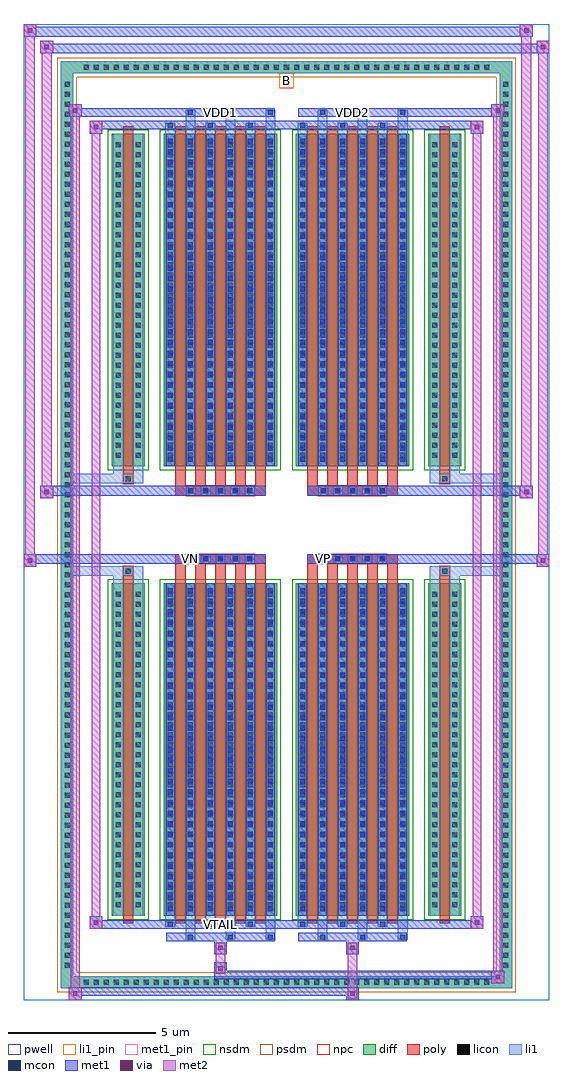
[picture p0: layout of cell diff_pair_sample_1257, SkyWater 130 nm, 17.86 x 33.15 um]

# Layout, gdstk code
import gdstk
lib = gdstk.Library(unit=1e-6, precision=5e-09)
def R(c, l, rs):  # rectangles x0, y0, x1, y1
    for r in rs: c.add(gdstk.rectangle(r[:2], r[2:], *l))
def A(c, l, x, y, w, h, nx, ny, dx, dy):  # array of equal rectangles
    R(c, l, [(x+i*dx, y+j*dy, x+i*dx+w, y+j*dy+h) for i in range(nx) for j in range(ny)])
def P(c, l, *ps):  # polygons
    for p in ps: c.add(gdstk.Polygon(p, *l))
pwell = (64, 44)
diff = (65, 20)
poly = (66, 20)
licon = (66, 44)
li1_pin = (67, 16)
li1 = (67, 20)
mcon = (67, 44)
met1_pin = (68, 16)
met1 = (68, 20)
via = (68, 44)
met2 = (69, 20)
nsdm = (93, 44)
psdm = (94, 20)
npc = (95, 20)

diff_pair_sample_1257 = lib.new_cell('diff_pair_sample_1257')
R(diff_pair_sample_1257, pwell, [(-8.93,-16.14,8.93,17.01), (-6.25,-14.33,-0.01,-0.795), (0.01,-14.33,6.25,-0.795), (-6.25,0.795,-0.01,14.33), (0.01,0.795,6.25,14.33)])
A(diff_pair_sample_1257, diff, -7.005, -15.74, 0.41, 0.41, 41, 2, 0.34, 31.07)
A(diff_pair_sample_1257, diff, -7.66, -15.165, 0.41, 0.41, 1, 89, 0, 0.34)
A(diff_pair_sample_1257, diff, 7.25, -15.165, 0.41, 0.41, 1, 89, 0, 0.34)
R(diff_pair_sample_1257, diff, [(-7.005,-15.74,7.005,-15.33), (-7.66,-15.165,-7.25,15.165), (7.25,-15.165,7.66,15.165), (-5.94,-13.285,-4.81,-1.985), (-4.17,-13.285,-0.32,-1.985), (0.32,-13.285,4.17,-1.985), (4.81,-13.285,5.94,-1.985), (-5.94,1.985,-4.81,13.285), (-4.17,1.985,-0.32,13.285), (0.32,1.985,4.17,13.285), (4.81,1.985,5.94,13.285), (-7.005,15.33,7.005,15.74)])
P(diff_pair_sample_1257, diff, [(7.66,15.74),(-7.66,15.74),(-7.66,-15.33),(-7.25,-15.33),(-7.25,15.33),(7.25,15.33),(7.25,-15.33),(-7.25,-15.33),(-7.66,-15.33),(-7.66,-15.74),(7.66,-15.74)])
A(diff_pair_sample_1257, poly, -3.78, -13.535, 0.35, 11.8, 5, 2, 0.68, 15.27)
A(diff_pair_sample_1257, poly, 0.71, -13.535, 0.35, 11.8, 5, 2, 0.68, 15.27)
A(diff_pair_sample_1257, poly, -3.78, -1.735, 0.35, 0.41, 5, 2, 0.68, 3.06)
A(diff_pair_sample_1257, poly, 0.71, -1.735, 0.35, 0.41, 5, 2, 0.68, 3.06)
A(diff_pair_sample_1257, poly, -3.41, -1.325, 0.33, 0.33, 5, 2, 0.5, 2.32)
A(diff_pair_sample_1257, poly, 1.08, -1.325, 0.33, 0.33, 5, 2, 0.5, 2.32)
R(diff_pair_sample_1257, poly, [(-5.55,-13.535,-5.2,-1.735), (5.2,-13.535,5.55,-1.735), (-5.54,-1.735,-5.21,-1.405), (-5.54,-1.735,-5.21,-1.405), (5.21,-1.735,5.54,-1.405), (5.21,-1.735,5.54,-1.405), (-3.78,-1.325,-0.71,-0.995), (0.71,-1.325,3.78,-0.995), (-3.78,0.995,-0.71,1.325), (0.71,0.995,3.78,1.325), (-5.54,1.405,-5.21,1.735), (-5.54,1.405,-5.21,1.735), (5.21,1.405,5.54,1.735), (5.21,1.405,5.54,1.735), (-5.55,1.735,-5.2,13.535), (5.2,1.735,5.55,13.535)])
A(diff_pair_sample_1257, licon, -6.885, -15.62, 0.17, 0.17, 41, 2, 0.34, 31.07)
A(diff_pair_sample_1257, licon, -7.54, -15.045, 0.17, 0.17, 1, 89, 0, 0.34)
A(diff_pair_sample_1257, licon, 7.37, -15.045, 0.17, 0.17, 1, 89, 0, 0.34)
A(diff_pair_sample_1257, licon, -5.8, -12.99, 0.17, 0.17, 1, 32, 0, 0.34)
A(diff_pair_sample_1257, licon, -5.12, -12.99, 0.17, 0.17, 1, 32, 0, 0.34)
A(diff_pair_sample_1257, licon, -4.03, -12.99, 0.17, 0.17, 6, 32, 0.68, 0.34)
A(diff_pair_sample_1257, licon, 0.46, -12.99, 0.17, 0.17, 6, 32, 0.68, 0.34)
A(diff_pair_sample_1257, licon, 4.95, -12.99, 0.17, 0.17, 1, 32, 0, 0.34)
A(diff_pair_sample_1257, licon, 5.63, -12.99, 0.17, 0.17, 1, 32, 0, 0.34)
A(diff_pair_sample_1257, licon, -3.33, -1.245, 0.17, 0.17, 5, 2, 0.5, 2.32)
A(diff_pair_sample_1257, licon, 1.16, -1.245, 0.17, 0.17, 5, 2, 0.5, 2.32)
A(diff_pair_sample_1257, licon, -5.8, 2.28, 0.17, 0.17, 1, 32, 0, 0.34)
A(diff_pair_sample_1257, licon, -5.12, 2.28, 0.17, 0.17, 1, 32, 0, 0.34)
A(diff_pair_sample_1257, licon, -4.03, 2.28, 0.17, 0.17, 6, 32, 0.68, 0.34)
A(diff_pair_sample_1257, licon, 0.46, 2.28, 0.17, 0.17, 6, 32, 0.68, 0.34)
A(diff_pair_sample_1257, licon, 4.95, 2.28, 0.17, 0.17, 1, 32, 0, 0.34)
A(diff_pair_sample_1257, licon, 5.63, 2.28, 0.17, 0.17, 1, 32, 0, 0.34)
R(diff_pair_sample_1257, licon, [(-5.46,-1.655,-5.29,-1.485), (5.29,-1.655,5.46,-1.485), (-5.46,1.485,-5.29,1.655), (5.29,1.485,5.46,1.655)])
R(diff_pair_sample_1257, li1_pin, [(-0.25,14.83,0.25,15.33)])
A(diff_pair_sample_1257, li1, -6.965, -15.7, 0.33, 0.33, 41, 2, 0.34, 31.07)
A(diff_pair_sample_1257, li1, -7.62, -15.125, 0.33, 0.33, 1, 89, 0, 0.34)
A(diff_pair_sample_1257, li1, 7.29, -15.125, 0.33, 0.33, 1, 89, 0, 0.34)
A(diff_pair_sample_1257, li1, -3.43, -14.09, 0.33, 0.805, 3, 2, 1.36, 27.375)
A(diff_pair_sample_1257, li1, -3.35, -14.09, 0.17, 0.17, 3, 2, 1.36, 28.01)
A(diff_pair_sample_1257, li1, 1.06, -14.09, 0.33, 0.805, 3, 2, 1.36, 27.375)
A(diff_pair_sample_1257, li1, 1.14, -14.09, 0.17, 0.17, 3, 2, 1.36, 28.01)
A(diff_pair_sample_1257, li1, -4.11, -13.66, 0.33, 0.375, 3, 2, 1.36, 26.945)
A(diff_pair_sample_1257, li1, -4.03, -13.66, 0.17, 0.17, 3, 2, 1.36, 27.15)
A(diff_pair_sample_1257, li1, 0.38, -13.66, 0.33, 0.375, 3, 2, 1.36, 26.945)
A(diff_pair_sample_1257, li1, 0.46, -13.66, 0.17, 0.17, 3, 2, 1.36, 27.15)
A(diff_pair_sample_1257, li1, -4.11, -13.285, 0.33, 11.3, 6, 2, 0.68, 15.27)
A(diff_pair_sample_1257, li1, 0.38, -13.285, 0.33, 11.3, 6, 2, 0.68, 15.27)
A(diff_pair_sample_1257, li1, -4.03, -13.12, 0.17, 0.17, 6, 31, 0.68, 0.36)
A(diff_pair_sample_1257, li1, -4.03, -13.12, 0.17, 10.97, 6, 2, 0.68, 15.27)
A(diff_pair_sample_1257, li1, 0.46, -13.12, 0.17, 0.17, 6, 31, 0.68, 0.36)
A(diff_pair_sample_1257, li1, 0.46, -13.12, 0.17, 10.97, 6, 2, 0.68, 15.27)
A(diff_pair_sample_1257, li1, -5.88, -13.07, 0.33, 0.33, 1, 32, 0, 0.34)
A(diff_pair_sample_1257, li1, -5.2, -13.07, 0.33, 0.33, 1, 32, 0, 0.34)
A(diff_pair_sample_1257, li1, -4.11, -13.07, 0.33, 0.33, 6, 32, 0.68, 0.34)
A(diff_pair_sample_1257, li1, 0.38, -13.07, 0.33, 0.33, 6, 32, 0.68, 0.34)
A(diff_pair_sample_1257, li1, 4.87, -13.07, 0.33, 0.33, 1, 32, 0, 0.34)
A(diff_pair_sample_1257, li1, 5.55, -13.07, 0.33, 0.33, 1, 32, 0, 0.34)
A(diff_pair_sample_1257, li1, -3.41, -1.325, 0.33, 0.33, 5, 2, 0.5, 2.32)
A(diff_pair_sample_1257, li1, 1.08, -1.325, 0.33, 0.33, 5, 2, 0.5, 2.32)
A(diff_pair_sample_1257, li1, -4.03, 2.15, 0.17, 0.17, 6, 31, 0.68, 0.36)
A(diff_pair_sample_1257, li1, 0.46, 2.15, 0.17, 0.17, 6, 31, 0.68, 0.36)
A(diff_pair_sample_1257, li1, -5.88, 2.2, 0.33, 0.33, 1, 32, 0, 0.34)
A(diff_pair_sample_1257, li1, -5.2, 2.2, 0.33, 0.33, 1, 32, 0, 0.34)
A(diff_pair_sample_1257, li1, -4.11, 2.2, 0.33, 0.33, 6, 32, 0.68, 0.34)
A(diff_pair_sample_1257, li1, 0.38, 2.2, 0.33, 0.33, 6, 32, 0.68, 0.34)
A(diff_pair_sample_1257, li1, 4.87, 2.2, 0.33, 0.33, 1, 32, 0, 0.34)
A(diff_pair_sample_1257, li1, 5.55, 2.2, 0.33, 0.33, 1, 32, 0, 0.34)
R(diff_pair_sample_1257, li1, [(-7.66,-15.74,-7.25,-15.33), (-7.66,-15.74,-7.25,-15.33), (-7.25,-15.74,7.25,-15.33), (7.25,-15.74,7.66,-15.33), (7.25,-15.74,7.66,-15.33), (-7.66,-15.33,-7.25,15.33), (7.25,-15.33,7.66,15.33), (-5.88,-13.285,-5.55,-1.985), (-5.2,-13.285,-4.87,-1.985), (4.87,-13.285,5.2,-1.985), (5.55,-13.285,5.88,-1.985), (-5.88,-1.985,-5.55,-1.405), (-5.2,-1.985,-4.87,-1.405), (4.87,-1.985,5.2,-1.405), (5.55,-1.985,5.88,-1.405), (-7.66,-1.735,-5.54,-1.405), (-5.88,-1.735,-5.54,-1.405), (-5.54,-1.735,-5.21,-1.405), (-5.21,-1.735,-4.87,-1.405), (4.87,-1.735,5.21,-1.405), (5.21,-1.735,5.54,-1.405), (5.21,-1.735,7.66,-1.405), (5.54,-1.735,5.88,-1.405), (-7.66,1.405,-5.54,1.735), (-5.88,1.405,-5.54,1.735), (-5.88,1.405,-5.55,1.985), (-5.54,1.405,-5.21,1.735), (-5.21,1.405,-4.87,1.735), (-5.2,1.405,-4.87,1.985), (4.87,1.405,5.21,1.735), (4.87,1.405,5.2,1.985), (5.21,1.405,5.54,1.735), (5.21,1.405,7.66,1.735), (5.54,1.405,5.88,1.735), (5.55,1.405,5.88,1.985), (-5.88,1.985,-5.55,13.285), (-5.2,1.985,-4.87,13.285), (4.87,1.985,5.2,13.285), (5.55,1.985,5.88,13.285), (-7.66,15.33,-7.25,15.74), (-7.66,15.33,-7.25,15.74), (-7.25,15.33,7.25,15.74), (7.25,15.33,7.66,15.74), (7.25,15.33,7.66,15.74)])
A(diff_pair_sample_1257, mcon, -3.35, -14.09, 0.17, 0.17, 3, 2, 1.36, 28.01)
A(diff_pair_sample_1257, mcon, 1.14, -14.09, 0.17, 0.17, 3, 2, 1.36, 28.01)
A(diff_pair_sample_1257, mcon, -4.03, -13.66, 0.17, 0.17, 3, 2, 1.36, 27.15)
A(diff_pair_sample_1257, mcon, 0.46, -13.66, 0.17, 0.17, 3, 2, 1.36, 27.15)
A(diff_pair_sample_1257, mcon, -4.03, -13.12, 0.17, 0.17, 6, 31, 0.68, 0.36)
A(diff_pair_sample_1257, mcon, 0.46, -13.12, 0.17, 0.17, 6, 31, 0.68, 0.36)
A(diff_pair_sample_1257, mcon, -3.33, -1.245, 0.17, 0.17, 5, 2, 0.5, 2.32)
A(diff_pair_sample_1257, mcon, 1.16, -1.245, 0.17, 0.17, 5, 2, 0.5, 2.32)
A(diff_pair_sample_1257, mcon, -4.03, 2.15, 0.17, 0.17, 6, 31, 0.68, 0.36)
A(diff_pair_sample_1257, mcon, 0.46, 2.15, 0.17, 0.17, 6, 31, 0.68, 0.36)
R(diff_pair_sample_1257, met1_pin, [(-2.38,-13.7,-2.11,-13.43), (-3.38,-1.285,-3.11,-1.015), (1.11,-1.285,1.38,-1.015), (-2.38,13.88,-2.11,14.15), (2.11,13.88,2.38,14.15)])
A(diff_pair_sample_1257, met1, -3.41, -14.15, 0.29, 0.29, 3, 2, 1.36, 28.01)
A(diff_pair_sample_1257, met1, 1.08, -14.15, 0.29, 0.29, 3, 2, 1.36, 28.01)
A(diff_pair_sample_1257, met1, -4.09, -13.72, 0.29, 0.29, 3, 2, 1.36, 27.15)
A(diff_pair_sample_1257, met1, 0.4, -13.72, 0.29, 0.29, 3, 2, 1.36, 27.15)
A(diff_pair_sample_1257, met1, -4.09, -13.285, 0.29, 11.3, 6, 2, 0.68, 15.27)
A(diff_pair_sample_1257, met1, 0.4, -13.285, 0.29, 11.3, 6, 2, 0.68, 15.27)
A(diff_pair_sample_1257, met1, -4.09, -13.18, 0.29, 0.29, 6, 31, 0.68, 0.36)
A(diff_pair_sample_1257, met1, 0.4, -13.18, 0.29, 0.29, 6, 31, 0.68, 0.36)
A(diff_pair_sample_1257, met1, -3.39, -1.305, 0.29, 0.29, 5, 2, 0.5, 2.32)
A(diff_pair_sample_1257, met1, 1.1, -1.305, 0.29, 0.29, 5, 2, 0.5, 2.32)
A(diff_pair_sample_1257, met1, -4.09, 2.09, 0.29, 0.29, 6, 31, 0.68, 0.36)
A(diff_pair_sample_1257, met1, 0.4, 2.09, 0.29, 0.29, 6, 31, 0.68, 0.36)
R(diff_pair_sample_1257, met1, [(-7.39,-16.14,-6.96,-15.71), (2.03,-16.14,2.46,-15.71), (-7.39,-16,2.46,-15.71), (6.96,-15.57,7.39,-15.14), (-2.46,-15.43,7.39,-15.14), (-2.46,-15.29,-2.03,-14.86), (-2.46,-14.58,-2.03,-14.15), (2.03,-14.58,2.46,-14.15), (-4.09,-14.15,-0.4,-13.86), (0.4,-14.15,4.09,-13.86), (-6.68,-13.72,-6.25,-13.29), (-6.68,-13.72,-4.09,-13.43), (-4.09,-13.72,-0.4,-13.43), (-0.4,-13.72,0.4,-13.43), (0.4,-13.72,4.09,-13.43), (4.09,-13.72,6.68,-13.43), (6.25,-13.72,6.68,-13.29), (-8.93,-1.425,-8.5,-0.995), (8.5,-1.425,8.93,-0.995), (-8.93,-1.325,-0.71,-0.995), (-3.78,-1.325,-0.71,-0.995), (0.71,-1.325,3.78,-0.995), (0.71,-1.325,8.93,-0.995), (-8.36,0.895,-7.93,1.325), (7.93,0.895,8.36,1.325), (-8.36,0.995,-3.78,1.325), (-3.78,0.995,-0.71,1.325), (0.71,0.995,3.78,1.325), (3.78,0.995,8.36,1.325), (-6.68,13.29,-6.25,13.72), (6.25,13.29,6.68,13.72), (-6.68,13.43,-4.09,13.72), (-4.09,13.43,-0.4,13.72), (-0.4,13.43,0.4,13.72), (0.4,13.43,4.09,13.72), (4.09,13.43,6.68,13.72), (-7.39,13.86,-6.96,14.29), (-7.39,13.86,-4.09,14.15), (-4.09,13.86,-0.4,14.15), (0.4,13.86,4.09,14.15), (4.09,13.86,7.39,14.15), (6.96,13.86,7.39,14.29), (-8.36,16.01,-7.93,16.44), (-8.36,16.01,-6.25,16.34), (-6.25,16.01,6.25,16.34), (6.25,16.01,8.93,16.34), (8.5,16.01,8.93,16.44), (-8.93,16.58,-8.5,17.01), (-8.93,16.58,-6.25,16.91), (-6.25,16.58,6.25,16.91), (6.25,16.58,8.36,16.91), (7.93,16.58,8.36,17.01)])
R(diff_pair_sample_1257, via, [(-7.25,-16,-7.1,-15.85), (2.17,-16,2.32,-15.85), (7.1,-15.43,7.25,-15.28), (-2.32,-15.15,-2.17,-15), (-2.32,-14.44,-2.17,-14.29), (2.17,-14.44,2.32,-14.29), (-6.54,-13.58,-6.39,-13.43), (6.39,-13.58,6.54,-13.43), (-8.79,-1.285,-8.64,-1.135), (8.64,-1.285,8.79,-1.135), (-8.22,1.035,-8.07,1.185), (8.07,1.035,8.22,1.185), (-6.54,13.43,-6.39,13.58), (6.39,13.43,6.54,13.58), (-7.25,14,-7.1,14.15), (7.1,14,7.25,14.15), (-8.22,16.15,-8.07,16.3), (8.64,16.15,8.79,16.3), (-8.79,16.72,-8.64,16.87), (8.07,16.72,8.22,16.87)])
R(diff_pair_sample_1257, met2, [(-7.39,-16.14,-6.96,-15.71), (-7.32,-16.14,-7.03,14.29), (-7.03,-16.14,-6.96,-15.71), (-7.34,-16.09,-7.01,-15.76), (2.08,-16.09,2.41,-15.76), (2.08,-15.76,2.41,-14.53), (6.96,-15.57,7.39,-15.14), (7.03,-15.57,7.32,14.29), (7.32,-15.57,7.39,-15.14), (7.01,-15.52,7.34,-15.19), (-2.41,-15.24,-2.08,-14.91), (-2.41,-14.91,-2.08,-14.53), (-2.41,-14.53,-2.08,-14.2), (2.08,-14.53,2.41,-14.2), (-6.68,-13.72,-6.25,-13.29), (-6.61,-13.72,-6.32,13.72), (-6.32,-13.72,-6.25,-13.29), (6.25,-13.72,6.68,-13.29), (6.32,-13.72,6.61,13.72), (6.61,-13.72,6.68,-13.29), (-6.63,-13.67,-6.3,-13.34), (6.3,-13.67,6.63,-13.34), (-8.93,-1.425,-8.5,-0.995), (-8.88,-1.425,-8.55,17.01), (-8.55,-1.425,-8.5,-0.995), (8.5,-1.425,8.93,-0.995), (8.55,-1.425,8.88,16.44), (8.88,-1.425,8.93,-0.995), (-8.88,-1.375,-8.55,-1.045), (8.55,-1.375,8.88,-1.045), (-8.36,0.895,-7.93,1.325), (-8.31,0.895,-7.98,16.44), (-7.98,0.895,-7.93,1.325), (7.93,0.895,8.36,1.325), (7.98,0.895,8.31,17.01), (8.31,0.895,8.36,1.325), (-8.31,0.945,-7.98,1.275), (7.98,0.945,8.31,1.275), (-6.68,13.29,-6.25,13.72), (-6.32,13.29,-6.25,13.72), (6.25,13.29,6.68,13.72), (6.61,13.29,6.68,13.72), (-6.63,13.34,-6.3,13.67), (6.3,13.34,6.63,13.67), (-7.39,13.86,-6.96,14.29), (-7.03,13.86,-6.96,14.29), (6.96,13.86,7.39,14.29), (7.32,13.86,7.39,14.29), (-7.34,13.91,-7.01,14.24), (7.01,13.91,7.34,14.24), (-8.36,16.01,-7.93,16.44), (-7.98,16.01,-7.93,16.44), (8.5,16.01,8.93,16.44), (8.88,16.01,8.93,16.44), (-8.31,16.06,-7.98,16.39), (8.55,16.06,8.88,16.39), (-8.93,16.58,-8.5,17.01), (-8.55,16.58,-8.5,17.01), (7.93,16.58,8.36,17.01), (8.31,16.58,8.36,17.01), (-8.88,16.63,-8.55,16.96), (7.98,16.63,8.31,16.96)])
R(diff_pair_sample_1257, nsdm, [(-6.07,-13.415,-4.68,-1.855), (-4.3,-13.415,-0.19,-1.855), (0.19,-13.415,4.3,-1.855), (4.68,-13.415,6.07,-1.855), (-6.07,1.855,-4.68,13.415), (-4.3,1.855,-0.19,13.415), (0.19,1.855,4.3,13.415), (4.68,1.855,6.07,13.415)])
P(diff_pair_sample_1257, psdm, [(7.79,15.87),(-7.79,15.87),(-7.79,-15.2),(-7.12,-15.2),(-7.12,15.2),(7.12,15.2),(7.12,-15.2),(-7.12,-15.2),(-7.79,-15.2),(-7.79,-15.87),(7.79,-15.87)])
A(diff_pair_sample_1257, npc, -3.43, -1.345, 0.37, 0.37, 5, 2, 0.5, 2.32)
A(diff_pair_sample_1257, npc, 1.06, -1.345, 0.37, 0.37, 5, 2, 0.5, 2.32)
R(diff_pair_sample_1257, npc, [(-5.56,-1.755,-5.19,-1.385), (5.19,-1.755,5.56,-1.385), (-3.43,-1.345,-2.56,-0.975), (-3.43,-1.345,-2.56,-0.975), (-2.93,-1.345,-2.06,-0.975), (-2.93,-1.345,-2.06,-0.975), (-2.43,-1.345,-1.56,-0.975), (-2.43,-1.345,-1.56,-0.975), (-1.93,-1.345,-1.06,-0.975), (-1.93,-1.345,-1.06,-0.975), (1.06,-1.345,1.93,-0.975), (1.06,-1.345,1.93,-0.975), (1.56,-1.345,2.43,-0.975), (1.56,-1.345,2.43,-0.975), (2.06,-1.345,2.93,-0.975), (2.06,-1.345,2.93,-0.975), (2.56,-1.345,3.43,-0.975), (2.56,-1.345,3.43,-0.975), (-3.43,0.975,-2.56,1.345), (-3.43,0.975,-2.56,1.345), (-2.93,0.975,-2.06,1.345), (-2.93,0.975,-2.06,1.345), (-2.43,0.975,-1.56,1.345), (-2.43,0.975,-1.56,1.345), (-1.93,0.975,-1.06,1.345), (-1.93,0.975,-1.06,1.345), (1.06,0.975,1.93,1.345), (1.06,0.975,1.93,1.345), (1.56,0.975,2.43,1.345), (1.56,0.975,2.43,1.345), (2.06,0.975,2.93,1.345), (2.06,0.975,2.93,1.345), (2.56,0.975,3.43,1.345), (2.56,0.975,3.43,1.345), (-5.56,1.385,-5.19,1.755), (5.19,1.385,5.56,1.755)])
diff_pair_sample_1257.add(gdstk.Label('VTAIL', (-2.245,-13.565), layer=68, texttype=5))
diff_pair_sample_1257.add(gdstk.Label('VN', (-3.245,-1.15), layer=68, texttype=5))
diff_pair_sample_1257.add(gdstk.Label('VP', (1.245,-1.15), layer=68, texttype=5))
diff_pair_sample_1257.add(gdstk.Label('B', (0,15.08), layer=67, texttype=5))
diff_pair_sample_1257.add(gdstk.Label('VDD2', (2.245,14.015), layer=68, texttype=5))
diff_pair_sample_1257.add(gdstk.Label('VDD1', (-2.245,14.015), layer=68, texttype=5))

lib.write_gds('diff_pair_sample_1257.gds')
